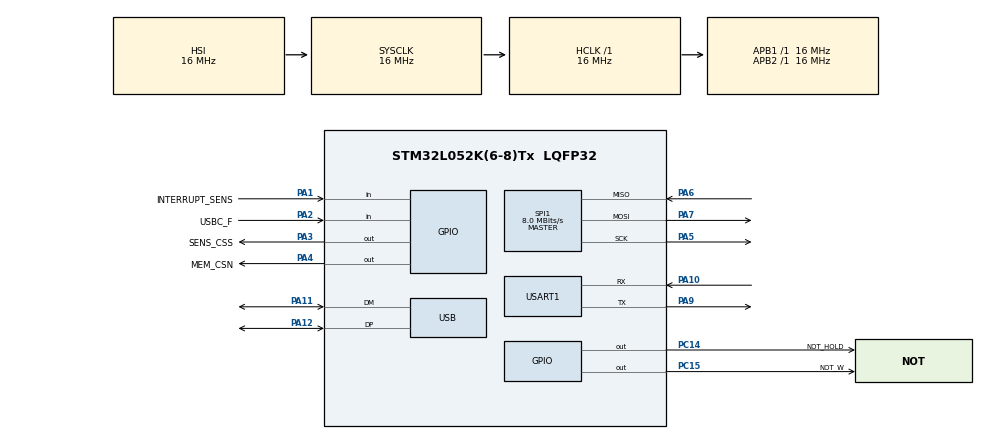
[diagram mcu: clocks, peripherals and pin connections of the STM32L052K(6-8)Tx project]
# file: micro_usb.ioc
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Mcu.Family=STM32L0
Mcu.Name=STM32L052K(6-8)Tx
Mcu.Package=LQFP32
NVIC.USB_IRQn=true\:0\:0\:false\:false\:true\:false\:true\:true
PA1.GPIO_Label=INTERRUPT_SENS
PA1.Signal=GPIO_Input
PA10.Mode=Asynchronous
PA10.Signal=USART1_RX
PA11.Mode=Device
PA11.Signal=USB_DM
PA12.Mode=Device
PA12.Signal=USB_DP
PA13.Mode=Serial_Wire
PA13.Signal=SYS_SWDIO
PA14.Mode=Serial_Wire
PA14.Signal=SYS_SWCLK
PA2.GPIO_Label=USBC_F
PA2.Signal=GPIO_Input
PA3.GPIO_Label=SENS_CSS
PA3.Signal=GPIO_Output
PA4.GPIO_Label=MEM_CSN
PA4.Signal=GPIO_Output
PA5.Mode=Full_Duplex_Master
PA5.Signal=SPI1_SCK
PA6.Mode=Full_Duplex_Master
PA6.Signal=SPI1_MISO
PA7.Mode=Full_Duplex_Master
PA7.Signal=SPI1_MOSI
PA9.Mode=Asynchronous
PA9.Signal=USART1_TX
PC14-OSC32_IN.GPIO_Label=NOT_HOLD
PC14-OSC32_IN.Signal=GPIO_Output
PC15-OSC32_OUT.GPIO_Label=NOT_W
PC15-OSC32_OUT.Signal=GPIO_Output
ProjectManager.HeapSize=0x200
ProjectManager.StackSize=0x400
ProjectManager.TargetToolchain=Makefile
RCC.AHBFreq_Value=16000000
RCC.APB1Freq_Value=16000000
RCC.APB1TimFreq_Value=16000000
RCC.APB2Freq_Value=16000000
RCC.APB2TimFreq_Value=16000000
RCC.HCLKFreq_Value=16000000
RCC.HSI16_VALUE=16000000
RCC.HSI48MClockSelection=RCC_USBCLKSOURCE_HSI48
RCC.HSI48_VALUE=48000000
RCC.HSI_VALUE=16000000
RCC.LSE_VALUE=32768
RCC.MSI_VALUE=2097000
RCC.PLLMUL=RCC_PLLMUL_6
RCC.SYSCLKFreq_VALUE=16000000
RCC.SYSCLKSource=RCC_SYSCLKSOURCE_HSI
RCC.VCOOutputFreq_Value=96000000
SPI1.CalculateBaudRate=8.0 MBits/s
SPI1.Direction=SPI_DIRECTION_2LINES
SPI1.Mode=SPI_MODE_MASTER
SPI1.VirtualType=VM_MASTER
USART1.VirtualMode-Asynchronous=VM_ASYNC
USB_DEVICE.CLASS_NAME_FS=CDC
USB_DEVICE.VirtualMode=Cdc
USB_DEVICE.VirtualModeFS=Cdc_FS
VP_USB_DEVICE_VS_USB_DEVICE_CDC_FS.Mode=CDC_FS
board=custom

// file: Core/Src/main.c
/* USER CODE BEGIN Header */
/**
  ******************************************************************************
  * @file           : main.c
  * @brief          : Main program body
  ******************************************************************************
  * @attention
  *
  * Copyright (c) 2026 STMicroelectronics.
  * All rights reserved.
  *
  * This software is licensed under terms that can be found in the LICENSE file
  * in the root directory of this software component.
  * If no LICENSE file comes with this software, it is provided AS-IS.
  *
  ******************************************************************************
  */
/* USER CODE END Header */
#include "main.h"
#include "spi.h"
#include "usart.h"
#include "usb_device.h"
#include "gpio.h"

/* USER CODE BEGIN PD */
/* Modifica le etichette dei PIN/PORT in base a come li hai nominati su CubeMX */
#define SENSOR_CS_PORT GPIOA
#define SENSOR_CS_PIN  GPIO_PIN_4

#define MEM_CS_PORT    GPIOB
#define MEM_CS_PIN     GPIO_PIN_12

#define DATA_SIZE      4 /* Dimensione in byte dei dati del sensore */
/* USER CODE END PD */

/* USER CODE BEGIN PV */
extern SPI_HandleTypeDef hspi1;

uint8_t sensor_tx_buf[DATA_SIZE] = {
    0x80 | 0x28,   // comando SPI read da PRESS_OUT_XL
    0x00,
    0x00,
    0x00
};

uint8_t sensor_rx_buf[DATA_SIZE] = {0};
/* USER CODE END PV */

void SystemClock_Config(void);

int main(void)
{

  /* MCU Configuration--------------------------------------------------------*/

  /* Reset of all peripherals, Initializes the Flash interface and the Systick. */
  HAL_Init();

  /* Configure the system clock */
  SystemClock_Config();

  /* Initialize all configured peripherals */
  MX_GPIO_Init();
  MX_SPI1_Init();
  MX_USART1_UART_Init();
  MX_USB_DEVICE_Init();
  /* USER CODE BEGIN 2 */

/* Prima tengo entrambi i chip select alti */
HAL_GPIO_WritePin(SENSOR_CS_PORT, SENSOR_CS_PIN, GPIO_PIN_SET);
HAL_GPIO_WritePin(MEM_CS_PORT, MEM_CS_PIN, GPIO_PIN_SET);

/* Configurazione LPS22HB:
   CTRL_REG1 = 0x10
   0x22 = ODR 10 Hz + BDU = 1 + SPI 4 fili
*/
uint8_t config_cmd[2] = {0x10, 0x22}; //per andare a 10 Hz

HAL_GPIO_WritePin(SENSOR_CS_PORT, SENSOR_CS_PIN, GPIO_PIN_RESET);
HAL_SPI_Transmit(&hspi1, config_cmd, 2, HAL_MAX_DELAY);
HAL_GPIO_WritePin(SENSOR_CS_PORT, SENSOR_CS_PIN, GPIO_PIN_SET);

/* Prima lettura pressione */
HAL_GPIO_WritePin(SENSOR_CS_PORT, SENSOR_CS_PIN, GPIO_PIN_RESET);
HAL_SPI_TransmitReceive_DMA(&hspi1, sensor_tx_buf, sensor_rx_buf, DATA_SIZE);

/* USER CODE END 2 */

  /* Infinite loop */
  while (1)
  {

    /* USER CODE BEGIN 3 */
    /* Mette la CPU in Sleep Mode finché non si verifica un Interrupt (es. fine trasferimento DMA) */
    __WFI();
  }
  /* USER CODE END 3 */
}

void SystemClock_Config(void)
{
  RCC_OscInitTypeDef RCC_OscInitStruct = {0};
  RCC_ClkInitTypeDef RCC_ClkInitStruct = {0};
  RCC_PeriphCLKInitTypeDef PeriphClkInit = {0};

  /** Configure the main internal regulator output voltage
  */
  __HAL_PWR_VOLTAGESCALING_CONFIG(PWR_REGULATOR_VOLTAGE_SCALE1);

  /** Initializes the RCC Oscillators according to the specified parameters
  * in the RCC_OscInitTypeDef structure.
  */
  RCC_OscInitStruct.OscillatorType = RCC_OSCILLATORTYPE_HSI|RCC_OSCILLATORTYPE_HSI48;
  RCC_OscInitStruct.HSIState = RCC_HSI_ON;
  RCC_OscInitStruct.HSICalibrationValue = RCC_HSICALIBRATION_DEFAULT;
  RCC_OscInitStruct.HSI48State = RCC_HSI48_ON;
  RCC_OscInitStruct.PLL.PLLState = RCC_PLL_NONE;
  if (HAL_RCC_OscConfig(&RCC_OscInitStruct) != HAL_OK)
  {
    Error_Handler();
  }

  /** Initializes the CPU, AHB and APB buses clocks
  */
  RCC_ClkInitStruct.ClockType = RCC_CLOCKTYPE_HCLK|RCC_CLOCKTYPE_SYSCLK
                              |RCC_CLOCKTYPE_PCLK1|RCC_CLOCKTYPE_PCLK2;
  RCC_ClkInitStruct.SYSCLKSource = RCC_SYSCLKSOURCE_HSI;
  RCC_ClkInitStruct.AHBCLKDivider = RCC_SYSCLK_DIV1;
  RCC_ClkInitStruct.APB1CLKDivider = RCC_HCLK_DIV1;
  RCC_ClkInitStruct.APB2CLKDivider = RCC_HCLK_DIV1;

  if (HAL_RCC_ClockConfig(&RCC_ClkInitStruct, FLASH_LATENCY_0) != HAL_OK)
  {
    Error_Handler();
  }
  PeriphClkInit.PeriphClockSelection = RCC_PERIPHCLK_USART1|RCC_PERIPHCLK_USB;
  PeriphClkInit.Usart1ClockSelection = RCC_USART1CLKSOURCE_PCLK2;
  PeriphClkInit.UsbClockSelection = RCC_USBCLKSOURCE_HSI48;
  if (HAL_RCCEx_PeriphCLKConfig(&PeriphClkInit) != HAL_OK)
  {
    Error_Handler();
  }
}

/* USER CODE BEGIN 4 */

/**
  * @brief  SPI Transfer Completed Callback
  * @param  hspi: SPI handle
  * @retval None
  */
void HAL_SPI_TxRxCpltCallback(SPI_HandleTypeDef *hspi)
{
  /* Verifichiamo che l'interrupt provenga dal bus SPI corretto */
  if (hspi->Instance == SPI1)
  {
    /* I dati acquisiti sono già disponibili in 'sensor_rx_buf' */

    /* 1. Deassert del chip select del sensore di pressione */
    HAL_GPIO_WritePin(SENSOR_CS_PORT, SENSOR_CS_PIN, GPIO_PIN_SET);

    /* 2. Assert del chip select della memoria esterna */
    HAL_GPIO_WritePin(MEM_CS_PORT, MEM_CS_PIN, GPIO_PIN_RESET);

    /* 3. Scrivo i dati in memoria */
    /* (Formattazione del comando di scrittura per la memoria SPI) */
    uint8_t mem_write_cmd[4];

    mem_write_cmd[0] = 0x02;             /* comando WRITE memoria, da adattare al datasheet memoria */
    mem_write_cmd[1] = sensor_rx_buf[1]; /* PRESS_OUT_XL */
    mem_write_cmd[2] = sensor_rx_buf[2]; /* PRESS_OUT_L  */
    mem_write_cmd[3] = sensor_rx_buf[3]; /* PRESS_OUT_H  */

    HAL_SPI_Transmit(hspi, mem_write_cmd, 4, 10);

    /* 4. Deassert del chip select della memoria */
    HAL_GPIO_WritePin(MEM_CS_PORT, MEM_CS_PIN, GPIO_PIN_SET);

    /* 5. Assert del chip select del sensore di pressione per preparare la prossima lettura */
    HAL_GPIO_WritePin(SENSOR_CS_PORT, SENSOR_CS_PIN, GPIO_PIN_RESET);

    /* 6. Restart del trasferimento DMA per la successiva acquisizione */
    HAL_SPI_TransmitReceive_DMA(hspi, sensor_tx_buf, sensor_rx_buf, DATA_SIZE);
  }
}

/* USER CODE END 4 */

void Error_Handler(void)
{
  __disable_irq();
  while (1)
  {
  }
}
